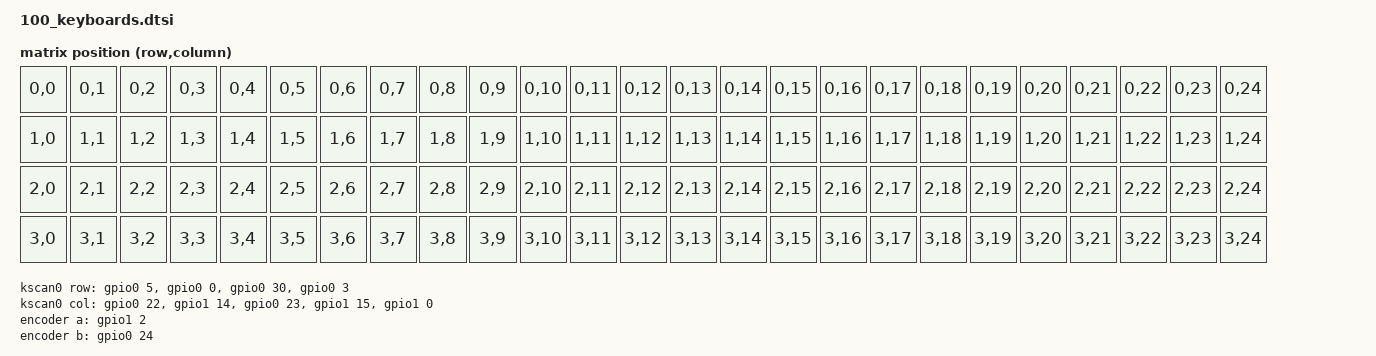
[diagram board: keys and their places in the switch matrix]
#include <dt-bindings/zmk/matrix_transform.h>
#include <zephyr/dt-bindings/gpio/nordic-nrf-gpio.h>
#include <dt-bindings/zmk/input_transform.h> // ★軸の定数（INPUT_REL_X等）のために必要
#include <physical_layouts.dtsi>

#define KP(x,y) <&key_physical_attrs 100 100 x y 0 0 0>

/ {
    chosen {
        zmk,kscan = &kscan0;
        zmk,matrix-transform = &default_transform;
        zmk,physical-layout = &physical_layout0;
        zmk,battery = &non_lipo_battery;
    };

    physical_layout0: physical_layout_0 {
        compatible = "zmk,physical-layout";
        display-name = "100% Keyboards";
        kscan = <&kscan0>;
        transform = <&default_transform>;
        keys =
            KP(0,0), KP(100,0), KP(200,0), KP(300,0), KP(400,0),      KP(600,0), KP(700,0), KP(800,0), KP(900,0), KP(1000,0),      KP(1200,0), KP(1300,0), KP(1400,0), KP(1500,0), KP(1600,0),      KP(1800,0), KP(1900,0), KP(2000,0), KP(2100,0), KP(2200,0),      KP(2400,0), KP(2500,0), KP(2600,0), KP(2700,0), KP(2800,0),
            KP(0,100), KP(100,100), KP(200,100), KP(300,100), KP(400,100),  KP(600,100), KP(700,100), KP(800,100), KP(900,100), KP(1000,100),  KP(1200,100), KP(1300,100), KP(1400,100), KP(1500,100), KP(1600,100),  KP(1800,100), KP(1900,100), KP(2000,100), KP(2100,100), KP(2200,100),  KP(2400,100), KP(2500,100), KP(2600,100), KP(2700,100), KP(2800,100),
            KP(0,200), KP(100,200), KP(200,200), KP(300,200), KP(400,200),  KP(600,200), KP(700,200), KP(800,200), KP(900,200), KP(1000,200),  KP(1200,200), KP(1300,200), KP(1400,200), KP(1500,200), KP(1600,200),  KP(1800,200), KP(1900,200), KP(2000,200), KP(2100,200), KP(2200,200),  KP(2400,200), KP(2500,200), KP(2600,200), KP(2700,200), KP(2800,200),
            KP(0,300), KP(100,300), KP(200,300), KP(300,300), KP(400,300),  KP(600,300), KP(700,300), KP(800,300), KP(900,300), KP(1000,300),  KP(1200,300), KP(1300,300), KP(1400,300), KP(1500,300), KP(1600,300),  KP(1800,300), KP(1900,300), KP(2000,300), KP(2100,300), KP(2200,300),  KP(2400,300), KP(2500,300), KP(2600,300), KP(2700,300), KP(2800,300)
            ;
    };

    kscan0: kscan_0 {
        compatible = "zmk,kscan-gpio-matrix";
        label = "KSCAN";
        diode-direction = "row2col";
        col-gpios
            = <&gpio0 22 (GPIO_ACTIVE_HIGH | GPIO_PULL_DOWN)>
            , <&gpio1 14 (GPIO_ACTIVE_HIGH | GPIO_PULL_DOWN)>
            , <&gpio0 23 (GPIO_ACTIVE_HIGH | GPIO_PULL_DOWN)>
            , <&gpio1 15 (GPIO_ACTIVE_HIGH | GPIO_PULL_DOWN)>
            , <&gpio1 0  (GPIO_ACTIVE_HIGH | GPIO_PULL_DOWN)>
            ;
        row-gpios
            = <&gpio0 5  (GPIO_ACTIVE_HIGH)>
            , <&gpio0 0  (GPIO_ACTIVE_HIGH)>
            , <&gpio0 30 (GPIO_ACTIVE_HIGH)>
            , <&gpio0 3  (GPIO_ACTIVE_HIGH)>
            ;
    };

    default_transform: keymap_transform_0 {
        compatible = "zmk,matrix-transform";
        columns = <25>;
        rows = <4>;
        map = <
        RC(0,0) RC(0,1) RC(0,2) RC(0,3) RC(0,4)  RC(0,5) RC(0,6) RC(0,7) RC(0,8) RC(0,9)  RC(0,10) RC(0,11) RC(0,12) RC(0,13) RC(0,14)  RC(0,15) RC(0,16) RC(0,17) RC(0,18) RC(0,19)  RC(0,20) RC(0,21) RC(0,22) RC(0,23) RC(0,24)
        RC(1,0) RC(1,1) RC(1,2) RC(1,3) RC(1,4)  RC(1,5) RC(1,6) RC(1,7) RC(1,8) RC(1,9)  RC(1,10) RC(1,11) RC(1,12) RC(1,13) RC(1,14)  RC(1,15) RC(1,16) RC(1,17) RC(1,18) RC(1,19)  RC(1,20) RC(1,21) RC(1,22) RC(1,23) RC(1,24)
        RC(2,0) RC(2,1) RC(2,2) RC(2,3) RC(2,4)  RC(2,5) RC(2,6) RC(2,7) RC(2,8) RC(2,9)  RC(2,10) RC(2,11) RC(2,12) RC(2,13) RC(2,14)  RC(2,15) RC(2,16) RC(2,17) RC(2,18) RC(2,19)  RC(2,20) RC(2,21) RC(2,22) RC(2,23) RC(2,24)
        RC(3,0) RC(3,1) RC(3,2) RC(3,3) RC(3,4)  RC(3,5) RC(3,6) RC(3,7) RC(3,8) RC(3,9)  RC(3,10) RC(3,11) RC(3,12) RC(3,13) RC(3,14)  RC(3,15) RC(3,16) RC(3,17) RC(3,18) RC(3,19)  RC(3,20) RC(3,21) RC(3,22) RC(3,23) RC(3,24)
        >;
    };

    encoder: encoder {
        compatible = "alps,ec11";
        a-gpios = <&gpio1 2 (GPIO_ACTIVE_LOW | GPIO_PULL_UP)>;
        b-gpios = <&gpio0 24 (GPIO_ACTIVE_LOW | GPIO_PULL_UP)>;
        steps = <80>;
        status = "okay";
    };

    sensors: sensors {
        compatible = "zmk,keymap-sensors";
        sensors = <&encoder>;
        triggers-per-rotation = <20>;
    };

    leds {
        compatible = "gpio-leds";
        status_led: status_led {
            gpios = <&bmp 2 GPIO_ACTIVE_HIGH>;
            label = "Status LED";
        };
    };

    status_led_device: status_led_device {
        compatible = "zmk,status-led";
        led = <&status_led>;
    };

    vbatt: vbatt { status = "disabled"; };
    non_lipo_battery: non_lipo_battery {
        compatible = "zmk,non-lipo-battery";
        io-channels = <&adc 4>; 
    };

    trackball_listener: trackball_listener {
        compatible = "zmk,input-listener";
        device = <&trackball>;
    };

    /* --- ★ここを修正: 必須プロパティ(x-codes/y-codes)を追加しました --- */
    zip_xy_transform: zip_xy_transform {
        compatible = "zmk,input-processor-transform";
        #input-processor-cells = <1>;
        x-codes = <INPUT_REL_X>;
        y-codes = <INPUT_REL_Y>;
    };

    zip_xy_to_scroll_mapper: zip_xy_to_scroll_mapper {
        compatible = "zmk,input-processor-xy-to-scroll-mapper";
        #input-processor-cells = <0>;
        x-codes = <INPUT_REL_X>;
        y-codes = <INPUT_REL_Y>;
    };

    zip_scroll_scaler: zip_scroll_scaler {
        compatible = "zmk,input-processor-scaler";
        #input-processor-cells = <2>;
        codes = <INPUT_REL_WHEEL INPUT_REL_HWHEEL>;
    };
};

&pinctrl {
    spi0_default: spi0_default {
        group1 {
            psels = <NRF_PSEL(SPIM_SCK, 0, 18)>,
                    <NRF_PSEL(SPIM_MOSI, 0, 16)>,
                    <NRF_PSEL(SPIM_MISO, 0, 16)>;
        };
    };
    spi0_sleep: spi0_sleep {
        group1 {
            psels = <NRF_PSEL(SPIM_SCK, 0, 18)>,
                    <NRF_PSEL(SPIM_MOSI, 0, 16)>,
                    <NRF_PSEL(SPIM_MISO, 0, 16)>;
            low-power-enable;
        };
    };
};

&spi0 {
    status = "okay";
    compatible = "nordic,nrf-spim";
    pinctrl-0 = <&spi0_default>;
    pinctrl-1 = <&spi0_sleep>;
    pinctrl-names = "default", "sleep";
    cs-gpios = <&gpio0 20 GPIO_ACTIVE_LOW>;

    trackball: trackball@0 {
        status = "okay";
        compatible = "pixart,paw3222";
        reg = <0>;
        spi-max-frequency = <2000000>;
        irq-gpios = <&gpio0 19 GPIO_ACTIVE_LOW>;
        power-gpios = <&gpio0 8 (GPIO_ACTIVE_HIGH | NRF_GPIO_DRIVE_H1)>;
    };
};
